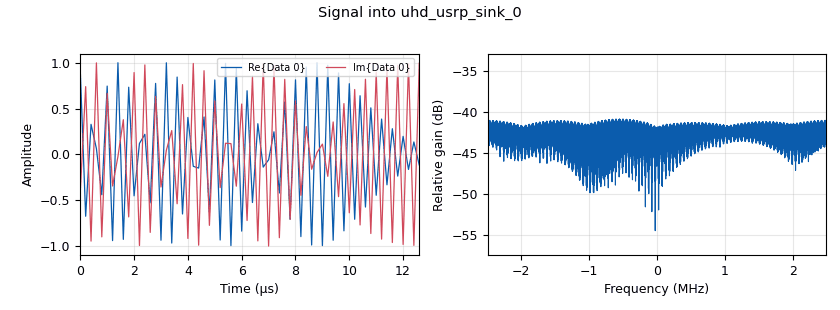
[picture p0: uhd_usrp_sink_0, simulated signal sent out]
options:
  parameters:
    author: Jonas Augusto Kunzler
    generate_options: qt_gui
    id: sweeping_jammer
    output_language: python
    title: Sweeping Jammer
  states: {}

blocks:
- name: frequency
  id: variable
  parameters:
    value: '1.85'
  states: {}
- name: samp_rate
  id: variable
  parameters:
    value: 5e6
  states: {}
- name: analog_sig_source_x_0
  id: analog_sig_source_x
  parameters:
    amp: '1'
    freq: '1000'
    offset: '0'
    phase: '0'
    samp_rate: samp_rate
    type: float
    waveform: analog.GR_SAW_WAVE
  states: {}
- name: blocks_vco_c_0
  id: blocks_vco_c
  parameters:
    amplitude: '1'
    samp_rate: samp_rate
    sensitivity: 157e6
  states: {}
- name: uhd_usrp_sink_0
  id: uhd_usrp_sink
  parameters:
    ant0: '"TX/RX"'
    bw0: samp_rate
    center_freq0: frequency
    clock_rate: '0.0'
    dev_addr: '"addr=192.168.10.2"'
    dev_args: '""'
    gain0: '1'
    gain_type0: normalized
    len_tag_name: ''
    samp_rate: samp_rate
    sd_spec0: A:0
    sync: pc_clock
    type: fc32
  states: {}

connections:
- [analog_sig_source_x_0, '0', blocks_vco_c_0, '0']
- [blocks_vco_c_0, '0', uhd_usrp_sink_0, '0']

metadata:
  file_format: 1
  grc_version: 3.10.12.0
